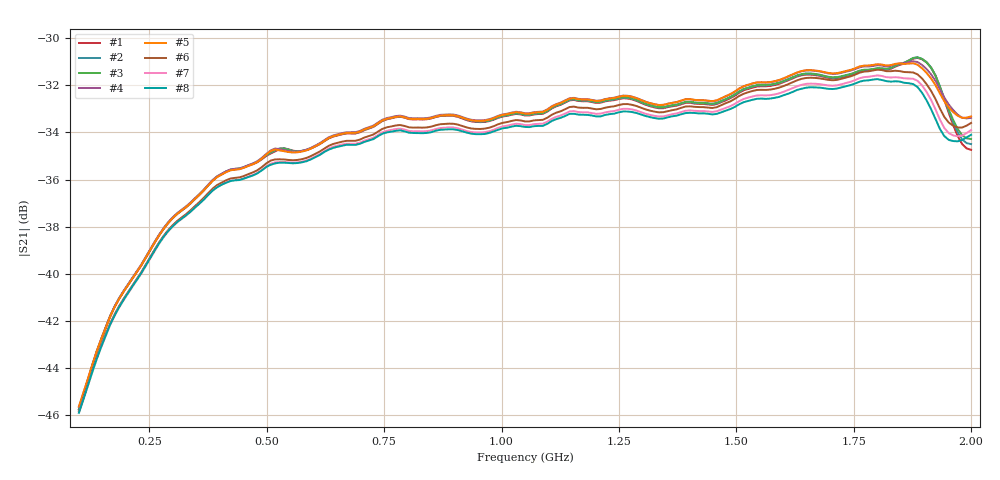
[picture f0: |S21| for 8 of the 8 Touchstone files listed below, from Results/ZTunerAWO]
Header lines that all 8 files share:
!Keysight Technologies,N5242B,MY48420967,A.15.65.19
!Correction: S11(C  2-Port  )
!S21(C  2-Port  )
!S12(C  2-Port  )
!S22(C  2-Port  )
!S2P File: Measurements: S11, S21, S12, S22:
# Hz S  dB  R 50
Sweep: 100 MHz to 2 GHz
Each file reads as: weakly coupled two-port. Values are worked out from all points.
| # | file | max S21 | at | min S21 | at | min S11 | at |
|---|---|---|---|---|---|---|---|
| 1 | S-ParamMeas20k_ZTunerAWO.s2p | -30.84 dB | 1.886 GHz | -45.8 dB | 100 MHz | -3.0 dB | 1.933 GHz |
| 2 | S-ParamMeas25k_ZTunerAWO.s2p | -30.82 dB | 1.886 GHz | -45.7 dB | 100 MHz | -3.0 dB | 1.933 GHz |
| 3 | S-ParamMeas30k_ZTunerAWO.s2p | -30.81 dB | 1.886 GHz | -45.7 dB | 100 MHz | -3.0 dB | 1.933 GHz |
| 4 | S-ParamMeas77k_ZTunerAWO.s2p | -30.98 dB | 1.877 GHz | -45.7 dB | 100 MHz | -3.1 dB | 1.933 GHz |
| 5 | S-ParamMeas100k_ZTunerAWO.s2p | -31.07 dB | 1.877 GHz | -45.6 dB | 100 MHz | -3.2 dB | 1.933 GHz |
| 6 | S-ParamMeas200k_ZTunerAWO.s2p | -31.34 dB | 1.8 GHz | -45.8 dB | 100 MHz | -3.9 dB | 1.933 GHz |
| 7 | S-ParamMeas250k_ZTunerAWO.s2p | -31.58 dB | 1.8 GHz | -45.9 dB | 100 MHz | -4.2 dB | 1.933 GHz |
| 8 | S-ParamMeas290k_ZTunerAWO.s2p | -31.74 dB | 1.8 GHz | -45.9 dB | 100 MHz | -4.5 dB | 1.933 GHz |
